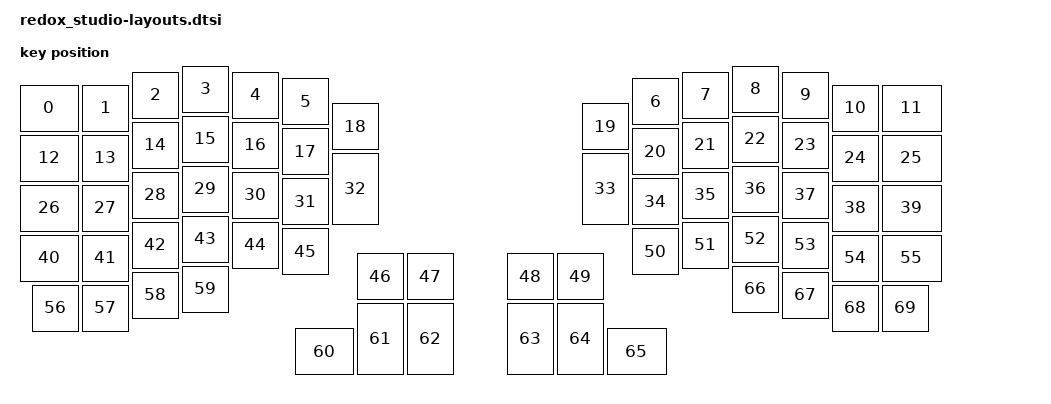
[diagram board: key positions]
#include <physical_layouts.dtsi>

/ {
    redox_studio_physical_layout: redox_studio_physical_layout {
        compatible = "zmk,physical-layout";
        display-name = "Redox Studio";

        kscan = <&kscan0>;
        transform = <&default_transform>;

        keys  //                     w   h    x    y     rot    rx    ry
            = <&key_physical_attrs 125 100    0   38       0     0     0>
            , <&key_physical_attrs 100 100  125   38       0     0     0>
            , <&key_physical_attrs 100 100  225   12       0     0     0>
            , <&key_physical_attrs 100 100  325    0       0     0     0>
            , <&key_physical_attrs 100 100  425   12       0     0     0>
            , <&key_physical_attrs 100 100  525   25       0     0     0>
            , <&key_physical_attrs 100 100 1225   25       0     0     0>
            , <&key_physical_attrs 100 100 1325   12       0     0     0>
            , <&key_physical_attrs 100 100 1425    0       0     0     0>
            , <&key_physical_attrs 100 100 1525   12       0     0     0>
            , <&key_physical_attrs 100 100 1625   38       0     0     0>
            , <&key_physical_attrs 125 100 1725   38       0     0     0>
            , <&key_physical_attrs 125 100    0  138       0     0     0>
            , <&key_physical_attrs 100 100  125  138       0     0     0>
            , <&key_physical_attrs 100 100  225  112       0     0     0>
            , <&key_physical_attrs 100 100  325  100       0     0     0>
            , <&key_physical_attrs 100 100  425  112       0     0     0>
            , <&key_physical_attrs 100 100  525  125       0     0     0>
            , <&key_physical_attrs 100 100  625   75       0     0     0>
            , <&key_physical_attrs 100 100 1125   75       0     0     0>
            , <&key_physical_attrs 100 100 1225  125       0     0     0>
            , <&key_physical_attrs 100 100 1325  112       0     0     0>
            , <&key_physical_attrs 100 100 1425  100       0     0     0>
            , <&key_physical_attrs 100 100 1525  112       0     0     0>
            , <&key_physical_attrs 100 100 1625  138       0     0     0>
            , <&key_physical_attrs 125 100 1725  138       0     0     0>
            , <&key_physical_attrs 125 100    0  238       0     0     0>
            , <&key_physical_attrs 100 100  125  238       0     0     0>
            , <&key_physical_attrs 100 100  225  212       0     0     0>
            , <&key_physical_attrs 100 100  325  200       0     0     0>
            , <&key_physical_attrs 100 100  425  212       0     0     0>
            , <&key_physical_attrs 100 100  525  225       0     0     0>
            , <&key_physical_attrs 100 150  625  175       0     0     0>
            , <&key_physical_attrs 100 150 1125  175       0     0     0>
            , <&key_physical_attrs 100 100 1225  225       0     0     0>
            , <&key_physical_attrs 100 100 1325  212       0     0     0>
            , <&key_physical_attrs 100 100 1425  200       0     0     0>
            , <&key_physical_attrs 100 100 1525  212       0     0     0>
            , <&key_physical_attrs 100 100 1625  238       0     0     0>
            , <&key_physical_attrs 125 100 1725  238       0     0     0>
            , <&key_physical_attrs 125 100    0  338       0     0     0>
            , <&key_physical_attrs 100 100  125  338       0     0     0>
            , <&key_physical_attrs 100 100  225  312       0     0     0>
            , <&key_physical_attrs 100 100  325  300       0     0     0>
            , <&key_physical_attrs 100 100  425  312       0     0     0>
            , <&key_physical_attrs 100 100  525  325       0     0     0>
            , <&key_physical_attrs 100 100  675  375       0     0     0>
            , <&key_physical_attrs 100 100  775  375       0     0     0>
            , <&key_physical_attrs 100 100  975  375       0     0     0>
            , <&key_physical_attrs 100 100 1075  375       0     0     0>
            , <&key_physical_attrs 100 100 1225  325       0     0     0>
            , <&key_physical_attrs 100 100 1325  312       0     0     0>
            , <&key_physical_attrs 100 100 1425  300       0     0     0>
            , <&key_physical_attrs 100 100 1525  312       0     0     0>
            , <&key_physical_attrs 100 100 1625  338       0     0     0>
            , <&key_physical_attrs 125 100 1725  338       0     0     0>
            , <&key_physical_attrs 100 100   25  438       0     0     0>
            , <&key_physical_attrs 100 100  125  438       0     0     0>
            , <&key_physical_attrs 100 100  225  412       0     0     0>
            , <&key_physical_attrs 100 100  325  400       0     0     0>
            , <&key_physical_attrs 125 100  550  525       0     0     0>
            , <&key_physical_attrs 100 150  675  475       0     0     0>
            , <&key_physical_attrs 100 150  775  475       0     0     0>
            , <&key_physical_attrs 100 150  975  475       0     0     0>
            , <&key_physical_attrs 100 150 1075  475       0     0     0>
            , <&key_physical_attrs 125 100 1175  525       0     0     0>
            , <&key_physical_attrs 100 100 1425  400       0     0     0>
            , <&key_physical_attrs 100 100 1525  412       0     0     0>
            , <&key_physical_attrs 100 100 1625  438       0     0     0>
            , <&key_physical_attrs 100 100 1725  438       0     0     0>
            ;
    };
};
